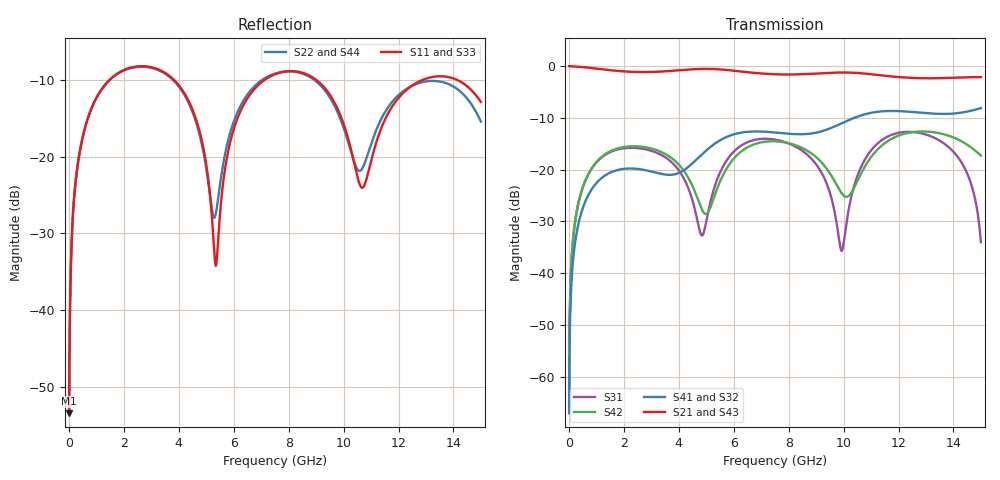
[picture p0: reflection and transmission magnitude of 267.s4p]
! Created with skrf 1.8.0 (http://scikit-rf.org).
# GHz S RI R 50.0
!freq ReS11 ImS11 ReS12 ImS12 ReS13 ImS13
! ReS14 ImS14
! ReS21 ImS21 ReS22 ImS22 ReS23 ImS23
! ReS24 ImS24
! ReS31 ImS31 ReS32 ImS32 ReS33 ImS33
! ReS34 ImS34
! ReS41 ImS41 ReS42 ImS42 ReS43 ImS43
! ReS44 ImS44
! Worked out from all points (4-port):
!   2499 points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, 5 MHz to 15 GHz, reference 50 ohm
!   strongest paths, dB at 5 MHz, 3.476 GHz, 7.19 GHz, 11.1 GHz, 15 GHz:
!     S21: 0.0, -1.0, -1.5, -1.6, -2.1
!     S43: 0.0, -1.0, -1.5, -1.6, -2.1
!     S41: -67.0, -20.9, -12.7, -8.9, -8.1
!     S32: -67.0, -20.9, -12.7, -8.9, -8.1
!     S42: -63.0, -16.9, -14.6, -16.9, -17.3
!     S31: -63.0, -17.5, -14.0, -15.7, -34.0
!   lowest |S11| = -53.5 dB at 5 MHz (marker M1), VSWR 1.00, Z = 50.2 + j0.128 ohm
!   |S11| at or under -10 dB: start of sweep to 1.46 GHz; 3.839 GHz to 7.102 GHz (3.262 GHz wide, 59.6 % of centre); 9.028 GHz to 12.84 GHz (3.814 GHz wide, 34.9 % of centre) (the widest 3 of 4)
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0.005  0.00169 0.00128  0.9983 -0.00328  8.6e-05 0.000705  -8.34e-05 -0.000436
       0.9983 -0.00328  0.00169 0.00128  -8.34e-05 -0.000436  8.62e-05 0.000705
       8.6e-05 0.000705  -8.34e-05 -0.000436  0.00169 0.00128  0.9983 -0.00328
       -8.34e-05 -0.000436  8.62e-05 0.000705  0.9983 -0.00328  0.00169 0.00128
0.3626511  0.0318 0.0953  0.9562 -0.2344  0.0154 0.0475  -0.013 -0.0287
           0.9562 -0.2344  0.0316 0.0953  -0.013 -0.0287  0.0163 0.0473
           0.0154 0.0475  -0.013 -0.0287  0.0318 0.0953  0.9562 -0.2344
           -0.013 -0.0287  0.0163 0.0473  0.9562 -0.2344  0.0316 0.0953
1.725719  0.3105 0.1536  0.4541 -0.7781  0.1439 0.0586  -0.098 0.0107
          0.4541 -0.7781  0.3069 0.1566  -0.0981 0.0107  0.1532 0.0425
          0.1439 0.0586  -0.0981 0.0107  0.3105 0.1536  0.454 -0.7781
          -0.098 0.0107  0.1532 0.0425  0.454 -0.7781  0.307 0.1566
5.345977  0.0194 -0.00152  -0.9329 -0.0508  0.0359 0.0646  -0.00539 0.1809
          -0.9329 -0.0508  0.041 0.0111  -0.00409 0.1808  -0.0224 0.0562
          0.0359 0.0646  -0.00409 0.1808  0.0217 -0.00122  -0.9329 -0.0505
          -0.00539 0.1809  -0.0224 0.0562  -0.9329 -0.0505  0.0386 0.0114
8.259692  0.3601 -0.0334  -0.00245 0.8311  0.1476 -0.0771  0.2106 -0.0644
          -0.00245 0.8311  0.3566 -0.0406  0.2101 -0.066  0.1433 -0.095
          0.1476 -0.0771  0.2101 -0.066  0.3619 -0.0364  -0.00208 0.8303
          0.2106 -0.0644  0.1433 -0.095  -0.00208 0.8303  0.3587 -0.038
10.99208  0.0784 0.0491  0.8345 -0.0313  0.0606 0.1397  -0.032 -0.352
          0.8345 -0.0313  0.1045 0.0584  -0.036 -0.3512  0.0304 0.1277
          0.0606 0.1397  -0.036 -0.3512  0.0813 0.0459  0.8346 -0.0316
          -0.032 -0.352  0.0304 0.1277  0.8346 -0.0316  0.1017 0.0576
15  0.1872 -0.131  -0.5001 -0.6025  0.0119 -0.016  -0.2934 0.2616
    -0.5001 -0.6025  0.148 -0.0838  -0.2899 0.2648  -0.0685 -0.1185
    0.0119 -0.016  -0.2899 0.2648  0.1848 -0.1406  -0.5004 -0.601
    -0.2934 0.2616  -0.0685 -0.1185  -0.5004 -0.601  0.1556 -0.0806
